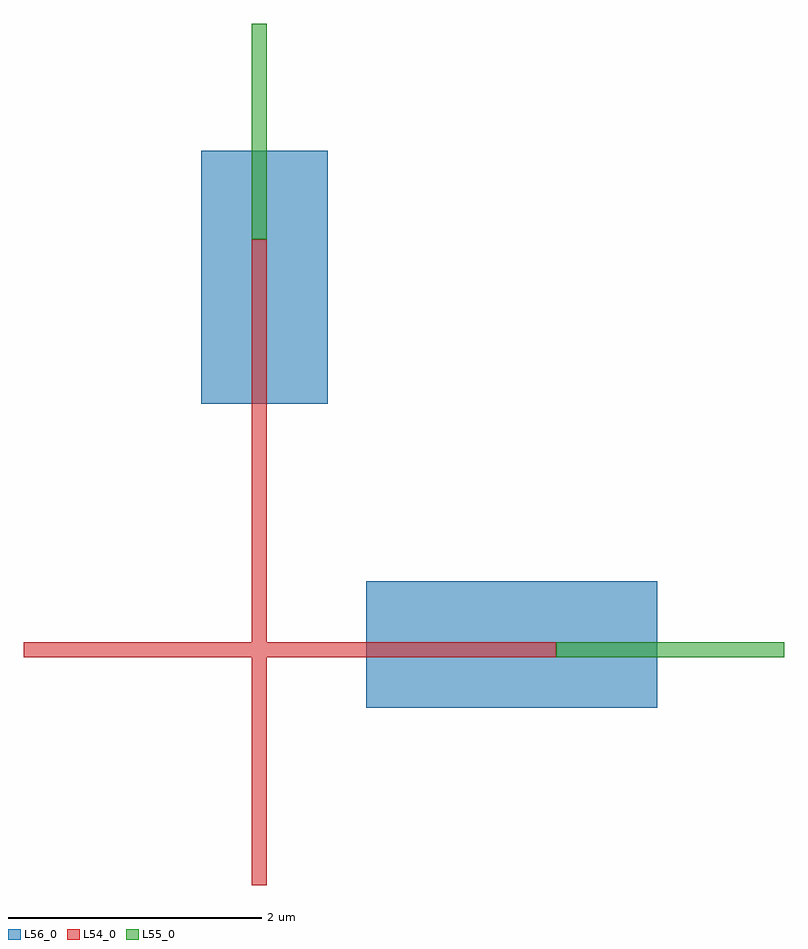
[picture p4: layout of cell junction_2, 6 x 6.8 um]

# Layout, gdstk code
import gdstk
lib = gdstk.Library(unit=1e-6, precision=1e-09)
def R(c, l, rs):  # rectangles x0, y0, x1, y1
    for r in rs: c.add(gdstk.rectangle(r[:2], r[2:], *l))
L54_0 = (54, 0)
L55_0 = (55, 0)
L56_0 = (56, 0)

junction_2 = lib.new_cell('junction_2')
R(junction_2, L54_0, [(-1.2,-2.8,-1.082,2.3), (-3,-1,1.2,-0.882)])
R(junction_2, L55_0, [(1.2,-1,3,-0.882), (-1.2,2.3,-1.082,4)])
R(junction_2, L56_0, [(-0.3,-1.4,2,-0.4), (-1.6,1,-0.6,3)])

lib.write_gds('junction_2.gds')
